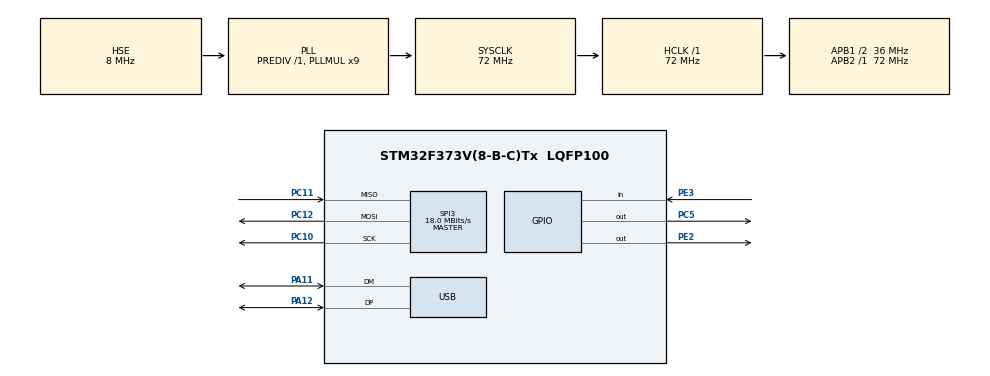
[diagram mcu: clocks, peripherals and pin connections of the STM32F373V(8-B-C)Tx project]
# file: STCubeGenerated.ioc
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Dma.Request0=SPI3_RX
Dma.Request1=SPI3_TX
Dma.SPI3_RX.0.Direction=DMA_PERIPH_TO_MEMORY
Dma.SPI3_RX.0.Instance=DMA2_Channel1
Dma.SPI3_RX.0.MemDataAlignment=DMA_MDATAALIGN_BYTE
Dma.SPI3_RX.0.MemInc=DMA_MINC_ENABLE
Dma.SPI3_RX.0.Mode=DMA_NORMAL
Dma.SPI3_RX.0.PeriphDataAlignment=DMA_PDATAALIGN_BYTE
Dma.SPI3_RX.0.PeriphInc=DMA_PINC_DISABLE
Dma.SPI3_RX.0.Priority=DMA_PRIORITY_LOW
Dma.SPI3_TX.1.Direction=DMA_MEMORY_TO_PERIPH
Dma.SPI3_TX.1.Instance=DMA2_Channel2
Dma.SPI3_TX.1.MemDataAlignment=DMA_MDATAALIGN_BYTE
Dma.SPI3_TX.1.MemInc=DMA_MINC_ENABLE
Dma.SPI3_TX.1.Mode=DMA_NORMAL
Dma.SPI3_TX.1.PeriphDataAlignment=DMA_PDATAALIGN_BYTE
Dma.SPI3_TX.1.PeriphInc=DMA_PINC_DISABLE
Dma.SPI3_TX.1.Priority=DMA_PRIORITY_LOW
Mcu.Family=STM32F3
Mcu.Name=STM32F373V(8-B-C)Tx
Mcu.Package=LQFP100
NVIC.DMA2_Channel1_IRQn=true\:0\:0\:false\:false\:true\:false
NVIC.DMA2_Channel2_IRQn=true\:0\:0\:false\:false\:true\:false
NVIC.PriorityGroup=NVIC_PRIORITYGROUP_4
NVIC.SPI3_IRQn=true\:0\:0\:false\:false\:true\:true
NVIC.USB_HP_IRQn=true\:0\:0\:false\:false\:true\:true
NVIC.USB_LP_IRQn=true\:0\:0\:false\:false\:true\:true
PA11.Mode=Device
PA11.Signal=USB_DM
PA12.Mode=Device
PA12.Signal=USB_DP
PC10.Mode=Full_Duplex_Master
PC10.Signal=SPI3_SCK
PC11.Mode=Full_Duplex_Master
PC11.Signal=SPI3_MISO
PC12.Mode=Full_Duplex_Master
PC12.Signal=SPI3_MOSI
PC5.PinState=GPIO_PIN_SET
PC5.Signal=GPIO_Output
PE2.PinState=GPIO_PIN_SET
PE2.Signal=GPIO_Output
PE3.GPIO_PuPd=GPIO_PULLUP
PE3.Signal=GPIO_Input
PF0-OSC_IN.Mode=HSE-External-Oscillator
PF0-OSC_IN.Signal=RCC_OSC_IN
PF1-OSC_OUT.Mode=HSE-External-Oscillator
PF1-OSC_OUT.Signal=RCC_OSC_OUT
ProjectManager.HeapSize=0x800
ProjectManager.StackSize=0x800
ProjectManager.TargetToolchain=MDK-ARM V5
RCC.AHBFreq_Value=72000000
RCC.APB1CLKDivider=RCC_HCLK_DIV2
RCC.APB1Freq_Value=36000000
RCC.APB1TimFreq_Value=72000000
RCC.APB2Freq_Value=72000000
RCC.APB2TimFreq_Value=72000000
RCC.CortexFreq_Value=72000000
RCC.HCLKFreq_Value=72000000
RCC.HSE_VALUE=8000000
RCC.HSI_VALUE=8000000
RCC.LSE_VALUE=32768
RCC.PLLMUL=RCC_PLL_MUL9
RCC.PRESCALERUSB=RCC_USBCLKSOURCE_PLL_DIV1_5
RCC.SYSCLKFreq_VALUE=72000000
RCC.SYSCLKSource=RCC_SYSCLKSOURCE_PLLCLK
RCC.USBFreq_Value=48000000
SPI3.BaudRatePrescaler=SPI_BAUDRATEPRESCALER_2
SPI3.CalculateBaudRate=18.0 MBits/s
SPI3.Direction=SPI_DIRECTION_2LINES
SPI3.Mode=SPI_MODE_MASTER
SPI3.VirtualType=VM_MASTER
board=STCubeGenerated

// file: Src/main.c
/**
  ******************************************************************************
  * File Name          : main.c
  * Description        : Main program body
  ******************************************************************************
  ** This notice applies to any and all portions of this file
  * that are not between comment pairs USER CODE BEGIN and
  * USER CODE END. Other portions of this file, whether
  * inserted by the user or by software development tools
  * are owned by their respective copyright owners.
  *
  * COPYRIGHT(c) 2018 STMicroelectronics
  *
  * Redistribution and use in source and binary forms, with or without modification,
  * are permitted provided that the following conditions are met:
  *   1. Redistributions of source code must retain the above copyright notice,
  *      this list of conditions and the following disclaimer.
  *   2. Redistributions in binary form must reproduce the above copyright notice,
  *      this list of conditions and the following disclaimer in the documentation
  *      and/or other materials provided with the distribution.
  *   3. Neither the name of STMicroelectronics nor the names of its contributors
  *      may be used to endorse or promote products derived from this software
  *      without specific prior written permission.
  *
  * THIS SOFTWARE IS PROVIDED BY THE COPYRIGHT HOLDERS AND CONTRIBUTORS "AS IS"
  * AND ANY EXPRESS OR IMPLIED WARRANTIES, INCLUDING, BUT NOT LIMITED TO, THE
  * IMPLIED WARRANTIES OF MERCHANTABILITY AND FITNESS FOR A PARTICULAR PURPOSE ARE
  * DISCLAIMED. IN NO EVENT SHALL THE COPYRIGHT HOLDER OR CONTRIBUTORS BE LIABLE
  * FOR ANY DIRECT, INDIRECT, INCIDENTAL, SPECIAL, EXEMPLARY, OR CONSEQUENTIAL
  * DAMAGES (INCLUDING, BUT NOT LIMITED TO, PROCUREMENT OF SUBSTITUTE GOODS OR
  * SERVICES; LOSS OF USE, DATA, OR PROFITS; OR BUSINESS INTERRUPTION) HOWEVER
  * CAUSED AND ON ANY THEORY OF LIABILITY, WHETHER IN CONTRACT, STRICT LIABILITY,
  * OR TORT (INCLUDING NEGLIGENCE OR OTHERWISE) ARISING IN ANY WAY OUT OF THE USE
  * OF THIS SOFTWARE, EVEN IF ADVISED OF THE POSSIBILITY OF SUCH DAMAGE.
  *
  ******************************************************************************
  */

#include "main.h"
#include "stm32f3xx_hal.h"

/* USER CODE BEGIN Includes */
#include "rl_fs.h"
#include "Driver_SPI.h"
#include "MX_Device.h"
/* USER CODE END Includes */

SPI_HandleTypeDef hspi3;
DMA_HandleTypeDef hdma_spi3_rx;
DMA_HandleTypeDef hdma_spi3_tx;

PCD_HandleTypeDef hpcd_USB_FS;

/* USER CODE BEGIN PV */
/* Private variables ---------------------------------------------------------*/
extern ARM_DRIVER_SPI Driver_SPI3;
/* USER CODE END PV */

void SystemClock_Config(void);
static void MX_GPIO_Init(void);
static void MX_DMA_Init(void);
static void MX_SPI3_Init(void);
static void MX_USB_PCD_Init(void);

/* USER CODE BEGIN PFP */
/* Private function prototypes -----------------------------------------------*/

/* USER CODE END PFP */

/* USER CODE BEGIN 0 */

/**
  * Override default HAL_GetTick function
  */
uint32_t HAL_GetTick (void) {
  static uint32_t ticks = 0U;
         uint32_t i;

  if (osKernelGetState () == osKernelRunning) {
    return ((uint32_t)osKernelGetTickCount ());
  }

  /* If Kernel is not running wait approximately 1 ms then increment
     and return auxiliary tick counter value */
  for (i = (SystemCoreClock >> 14U); i > 0U; i--) {
    __NOP(); __NOP(); __NOP(); __NOP(); __NOP(); __NOP();
    __NOP(); __NOP(); __NOP(); __NOP(); __NOP(); __NOP();
  }
  return ++ticks;
}

/**
  Callback function used to read Card Detect (CD) pin state when
  Memory Card is used in SPI mode.
  \param[in]  drive_num                Memory Card Drive number
  \return     1:card detected, 0:card not detected, or error
*/
int32_t fs_mc_read_cd (uint32_t drive_num) {

  if (drive_num == 0U) {
    if (HAL_GPIO_ReadPin(MX_PE3_GPIOx, MX_PE3_GPIO_Pin) == GPIO_PIN_RESET) {
      return 1U;
    }
  }

  return 0U;
}

/**
  Callback function used to control Slave Select signal when
  Memory Card is used in SPI mode.
  \param[in]  drive_num                Memory Card Drive number
  \param[in]  ss                       Slave select signal state (0=inactive, 1=active)
  \return     slave select signal state
*/
int32_t fs_mc_spi_control_ss (uint32_t drive_num, uint32_t ss) {
  static bool spi_reconfigure = true;

  if (spi_reconfigure == true) {
    spi_reconfigure = false;

    Driver_SPI3.Control (ARM_SPI_MODE_MASTER | ARM_SPI_CPOL0_CPHA0  \
                                             | ARM_SPI_DATA_BITS(8) \
                                             | ARM_SPI_MSB_LSB      \
                                             | ARM_SPI_SS_MASTER_UNUSED,
                                               400000);
  }

  if (drive_num == 0U) {
    if (ss == 1U) {
      HAL_GPIO_WritePin(MX_PE2_GPIOx, MX_PE2_GPIO_Pin, GPIO_PIN_RESET);
    } else {
      HAL_GPIO_WritePin(MX_PE2_GPIOx, MX_PE2_GPIO_Pin, GPIO_PIN_SET);
    }

    return ((int32_t)ss);
  }

  return -1;
}

/**
  * @brief  Software Device Connection
  * @param  hpcd: PCD handle
  * @param  state: connection state (0 : disconnected / 1: connected)
  * @retval None
  */
void HAL_PCDEx_SetConnectionState(PCD_HandleTypeDef *hpcd, uint8_t state)
{
  if(state == 1U) {
    HAL_GPIO_WritePin(MX_PC5_GPIOx, MX_PC5_GPIO_Pin, GPIO_PIN_RESET);
  } else {
    HAL_GPIO_WritePin(MX_PC5_GPIOx, MX_PC5_GPIO_Pin, GPIO_PIN_SET);
  }
}
/* USER CODE END 0 */

int main(void)
{

  /* MCU Configuration----------------------------------------------------------*/

  /* Reset of all peripherals, Initializes the Flash interface and the Systick. */
  HAL_Init();

  /* Configure the system clock */
  SystemClock_Config();

  /* USER CODE BEGIN SysInit */
  SystemCoreClockUpdate();
  /* USER CODE END SysInit */

  /* Initialize all configured peripherals */
  MX_GPIO_Init();
  MX_DMA_Init();
  MX_SPI3_Init();
  MX_USB_PCD_Init();

  /* USER CODE BEGIN 2 */

  /* Initialize CMSIS-RTOS2 */
  osKernelInitialize ();

  /* Create application main thread */
  osThreadNew(app_main, NULL, &app_main_attr);

  /* Start thread execution */
  osKernelStart();

  /* USER CODE END 2 */

  /* Infinite loop */
  while (1)
  {

  }

}

/** System Clock Configuration
*/
void SystemClock_Config(void)
{

  RCC_OscInitTypeDef RCC_OscInitStruct;
  RCC_ClkInitTypeDef RCC_ClkInitStruct;
  RCC_PeriphCLKInitTypeDef PeriphClkInit;

    /**Initializes the CPU, AHB and APB busses clocks
    */
  RCC_OscInitStruct.OscillatorType = RCC_OSCILLATORTYPE_HSE;
  RCC_OscInitStruct.HSEState = RCC_HSE_ON;
  RCC_OscInitStruct.HSEPredivValue = RCC_HSE_PREDIV_DIV1;
  RCC_OscInitStruct.HSIState = RCC_HSI_ON;
  RCC_OscInitStruct.PLL.PLLState = RCC_PLL_ON;
  RCC_OscInitStruct.PLL.PLLSource = RCC_PLLSOURCE_HSE;
  RCC_OscInitStruct.PLL.PLLMUL = RCC_PLL_MUL9;
  if (HAL_RCC_OscConfig(&RCC_OscInitStruct) != HAL_OK)
  {
    _Error_Handler(__FILE__, __LINE__);
  }

    /**Initializes the CPU, AHB and APB busses clocks
    */
  RCC_ClkInitStruct.ClockType = RCC_CLOCKTYPE_HCLK|RCC_CLOCKTYPE_SYSCLK
                              |RCC_CLOCKTYPE_PCLK1|RCC_CLOCKTYPE_PCLK2;
  RCC_ClkInitStruct.SYSCLKSource = RCC_SYSCLKSOURCE_PLLCLK;
  RCC_ClkInitStruct.AHBCLKDivider = RCC_SYSCLK_DIV1;
  RCC_ClkInitStruct.APB1CLKDivider = RCC_HCLK_DIV2;
  RCC_ClkInitStruct.APB2CLKDivider = RCC_HCLK_DIV1;

  if (HAL_RCC_ClockConfig(&RCC_ClkInitStruct, FLASH_LATENCY_2) != HAL_OK)
  {
    _Error_Handler(__FILE__, __LINE__);
  }

  PeriphClkInit.PeriphClockSelection = RCC_PERIPHCLK_USB;
  PeriphClkInit.USBClockSelection = RCC_USBCLKSOURCE_PLL_DIV1_5;
  if (HAL_RCCEx_PeriphCLKConfig(&PeriphClkInit) != HAL_OK)
  {
    _Error_Handler(__FILE__, __LINE__);
  }

    /**Configure the Systick interrupt time
    */
  HAL_SYSTICK_Config(HAL_RCC_GetHCLKFreq()/1000);

    /**Configure the Systick
    */
  HAL_SYSTICK_CLKSourceConfig(SYSTICK_CLKSOURCE_HCLK);

  /* SysTick_IRQn interrupt configuration */
  HAL_NVIC_SetPriority(SysTick_IRQn, 15, 0);
}

/* SPI3 init function */
static void MX_SPI3_Init(void)
{

  /* SPI3 parameter configuration*/
  hspi3.Instance = SPI3;
  hspi3.Init.Mode = SPI_MODE_MASTER;
  hspi3.Init.Direction = SPI_DIRECTION_2LINES;
  hspi3.Init.DataSize = SPI_DATASIZE_4BIT;
  hspi3.Init.CLKPolarity = SPI_POLARITY_LOW;
  hspi3.Init.CLKPhase = SPI_PHASE_1EDGE;
  hspi3.Init.NSS = SPI_NSS_SOFT;
  hspi3.Init.BaudRatePrescaler = SPI_BAUDRATEPRESCALER_2;
  hspi3.Init.FirstBit = SPI_FIRSTBIT_MSB;
  hspi3.Init.TIMode = SPI_TIMODE_DISABLE;
  hspi3.Init.CRCCalculation = SPI_CRCCALCULATION_DISABLE;
  hspi3.Init.CRCPolynomial = 7;
  hspi3.Init.CRCLength = SPI_CRC_LENGTH_DATASIZE;
  hspi3.Init.NSSPMode = SPI_NSS_PULSE_ENABLE;
  if (HAL_SPI_Init(&hspi3) != HAL_OK)
  {
    _Error_Handler(__FILE__, __LINE__);
  }

}

/* USB init function */
static void MX_USB_PCD_Init(void)
{

  hpcd_USB_FS.Instance = USB;
  hpcd_USB_FS.Init.dev_endpoints = 8;
  hpcd_USB_FS.Init.speed = PCD_SPEED_FULL;
  hpcd_USB_FS.Init.ep0_mps = DEP0CTL_MPS_64;
  hpcd_USB_FS.Init.phy_itface = PCD_PHY_EMBEDDED;
  hpcd_USB_FS.Init.low_power_enable = DISABLE;
  hpcd_USB_FS.Init.battery_charging_enable = DISABLE;
  if (HAL_PCD_Init(&hpcd_USB_FS) != HAL_OK)
  {
    _Error_Handler(__FILE__, __LINE__);
  }

}

static void MX_DMA_Init(void)
{
  /* DMA controller clock enable */
  __HAL_RCC_DMA2_CLK_ENABLE();

  /* DMA interrupt init */
  /* DMA2_Channel1_IRQn interrupt configuration */
  HAL_NVIC_SetPriority(DMA2_Channel1_IRQn, 0, 0);
  HAL_NVIC_EnableIRQ(DMA2_Channel1_IRQn);
  /* DMA2_Channel2_IRQn interrupt configuration */
  HAL_NVIC_SetPriority(DMA2_Channel2_IRQn, 0, 0);
  HAL_NVIC_EnableIRQ(DMA2_Channel2_IRQn);

}

/** Configure pins as
        * Analog
        * Input
        * Output
        * EVENT_OUT
        * EXTI
*/
static void MX_GPIO_Init(void)
{

  GPIO_InitTypeDef GPIO_InitStruct;

  /* GPIO Ports Clock Enable */
  __HAL_RCC_GPIOE_CLK_ENABLE();
  __HAL_RCC_GPIOF_CLK_ENABLE();
  __HAL_RCC_GPIOC_CLK_ENABLE();
  __HAL_RCC_GPIOA_CLK_ENABLE();

  /*Configure GPIO pin Output Level */
  HAL_GPIO_WritePin(GPIOE, GPIO_PIN_2, GPIO_PIN_SET);

  /*Configure GPIO pin Output Level */
  HAL_GPIO_WritePin(GPIOC, GPIO_PIN_5, GPIO_PIN_SET);

  /*Configure GPIO pin : PE2 */
  GPIO_InitStruct.Pin = GPIO_PIN_2;
  GPIO_InitStruct.Mode = GPIO_MODE_OUTPUT_PP;
  GPIO_InitStruct.Pull = GPIO_NOPULL;
  GPIO_InitStruct.Speed = GPIO_SPEED_FREQ_LOW;
  HAL_GPIO_Init(GPIOE, &GPIO_InitStruct);

  /*Configure GPIO pin : PE3 */
  GPIO_InitStruct.Pin = GPIO_PIN_3;
  GPIO_InitStruct.Mode = GPIO_MODE_INPUT;
  GPIO_InitStruct.Pull = GPIO_PULLUP;
  HAL_GPIO_Init(GPIOE, &GPIO_InitStruct);

  /*Configure GPIO pin : PC5 */
  GPIO_InitStruct.Pin = GPIO_PIN_5;
  GPIO_InitStruct.Mode = GPIO_MODE_OUTPUT_PP;
  GPIO_InitStruct.Pull = GPIO_NOPULL;
  GPIO_InitStruct.Speed = GPIO_SPEED_FREQ_LOW;
  HAL_GPIO_Init(GPIOC, &GPIO_InitStruct);

}

void _Error_Handler(char * file, int line)
{
  while(1)
  {
  }
}

/************************ (C) COPYRIGHT STMicroelectronics *****END OF FILE****/
